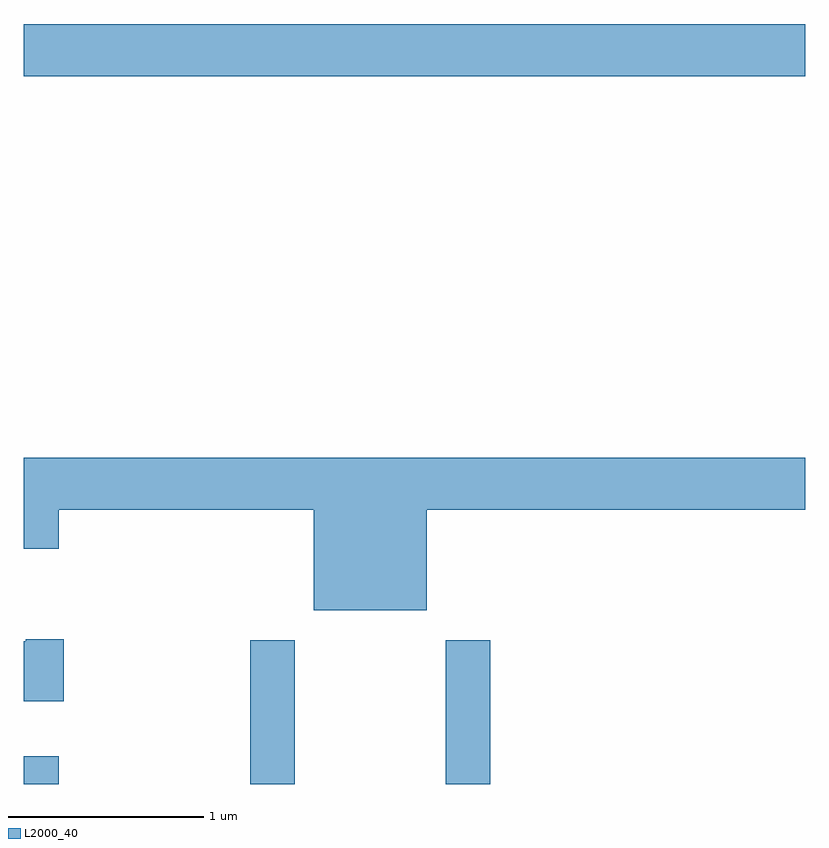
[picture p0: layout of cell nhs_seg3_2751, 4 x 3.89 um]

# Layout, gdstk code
import gdstk
lib = gdstk.Library(unit=1e-6, precision=1e-09)
def R(c, l, rs):  # rectangles x0, y0, x1, y1
    for r in rs: c.add(gdstk.rectangle(r[:2], r[2:], *l))
def P(c, l, *ps):  # polygons
    for p in ps: c.add(gdstk.Polygon(p, *l))
L2000_40 = (2000, 40)

nhs_seg3_2751 = lib.new_cell('nhs_seg3_2751')
R(nhs_seg3_2751, L2000_40, [(265.611,1177.892,265.789,1178.034), (266.771,1177.892,266.999,1178.629), (267.771,1177.892,267.999,1178.629), (265.611,1181.516,269.611,1181.784)])
P(nhs_seg3_2751, L2000_40, [(267.674,1179.296),(269.611,1179.296),(269.611,1179.564),(265.611,1179.564),(265.611,1179.096),(265.789,1179.096),(265.789,1179.296),(267.096,1179.296),(267.096,1178.781),(267.674,1178.781)],
  [(265.814,1178.634),(265.62,1178.634),(265.62,1178.624),(265.611,1178.624),(265.611,1178.316),(265.814,1178.316)])

lib.write_gds('nhs_seg3_2751.gds')
